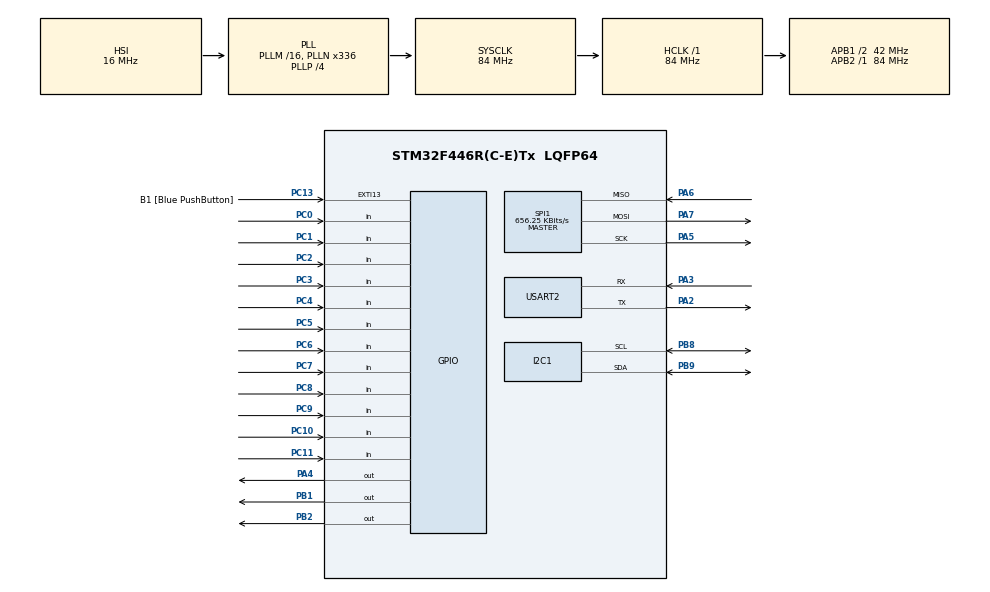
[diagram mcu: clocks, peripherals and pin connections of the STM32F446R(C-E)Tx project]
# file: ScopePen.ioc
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Dma.MEMTOMEM.0.Direction=DMA_MEMORY_TO_MEMORY
Dma.MEMTOMEM.0.FIFOMode=DMA_FIFOMODE_ENABLE
Dma.MEMTOMEM.0.FIFOThreshold=DMA_FIFO_THRESHOLD_FULL
Dma.MEMTOMEM.0.Instance=DMA2_Stream0
Dma.MEMTOMEM.0.MemBurst=DMA_MBURST_SINGLE
Dma.MEMTOMEM.0.MemDataAlignment=DMA_MDATAALIGN_HALFWORD
Dma.MEMTOMEM.0.MemInc=DMA_MINC_ENABLE
Dma.MEMTOMEM.0.Mode=DMA_NORMAL
Dma.MEMTOMEM.0.PeriphBurst=DMA_PBURST_SINGLE
Dma.MEMTOMEM.0.PeriphDataAlignment=DMA_PDATAALIGN_HALFWORD
Dma.MEMTOMEM.0.PeriphInc=DMA_PINC_DISABLE
Dma.MEMTOMEM.0.Priority=DMA_PRIORITY_VERY_HIGH
Dma.Request0=MEMTOMEM
Dma.Request1=SPI1_TX
Dma.Request2=SPI1_RX
Dma.SPI1_RX.2.Direction=DMA_PERIPH_TO_MEMORY
Dma.SPI1_RX.2.FIFOMode=DMA_FIFOMODE_DISABLE
Dma.SPI1_RX.2.Instance=DMA2_Stream2
Dma.SPI1_RX.2.MemDataAlignment=DMA_MDATAALIGN_HALFWORD
Dma.SPI1_RX.2.MemInc=DMA_MINC_ENABLE
Dma.SPI1_RX.2.Mode=DMA_NORMAL
Dma.SPI1_RX.2.PeriphDataAlignment=DMA_PDATAALIGN_HALFWORD
Dma.SPI1_RX.2.PeriphInc=DMA_PINC_DISABLE
Dma.SPI1_RX.2.Priority=DMA_PRIORITY_HIGH
Dma.SPI1_TX.1.Direction=DMA_MEMORY_TO_PERIPH
Dma.SPI1_TX.1.FIFOMode=DMA_FIFOMODE_DISABLE
Dma.SPI1_TX.1.Instance=DMA2_Stream3
Dma.SPI1_TX.1.MemDataAlignment=DMA_MDATAALIGN_HALFWORD
Dma.SPI1_TX.1.MemInc=DMA_MINC_ENABLE
Dma.SPI1_TX.1.Mode=DMA_NORMAL
Dma.SPI1_TX.1.PeriphDataAlignment=DMA_PDATAALIGN_HALFWORD
Dma.SPI1_TX.1.PeriphInc=DMA_PINC_DISABLE
Dma.SPI1_TX.1.Priority=DMA_PRIORITY_HIGH
Mcu.Family=STM32F4
Mcu.Name=STM32F446R(C-E)Tx
Mcu.Package=LQFP64
NVIC.DMA2_Stream0_IRQn=true\:0\:0\:false\:false\:true\:true\:true\:true
NVIC.DMA2_Stream2_IRQn=true\:0\:0\:false\:false\:true\:false\:true\:true
NVIC.DMA2_Stream3_IRQn=true\:0\:0\:false\:false\:true\:false\:true\:true
NVIC.PriorityGroup=NVIC_PRIORITYGROUP_0
NVIC.SPI1_IRQn=true\:0\:0\:false\:false\:true\:true\:true\:true
PA13.GPIO_Label=TMS
PA13.Mode=Serial_Wire
PA13.Signal=SYS_JTMS-SWDIO
PA14.GPIO_Label=TCK
PA14.Mode=Serial_Wire
PA14.Signal=SYS_JTCK-SWCLK
PA2.Mode=Asynchronous
PA2.Signal=USART2_TX
PA3.Mode=Asynchronous
PA3.Signal=USART2_RX
PA4.GPIO_PuPd=GPIO_NOPULL
PA4.PinState=GPIO_PIN_SET
PA4.Signal=GPIO_Output
PA5.Mode=Full_Duplex_Master
PA5.Signal=SPI1_SCK
PA6.Mode=Full_Duplex_Master
PA6.Signal=SPI1_MISO
PA7.Mode=Full_Duplex_Master
PA7.Signal=SPI1_MOSI
PB1.GPIO_PuPd=GPIO_PULLDOWN
PB1.Signal=GPIO_Output
PB2.GPIO_PuPd=GPIO_PULLDOWN
PB2.Signal=GPIO_Output
PB3.GPIO_Label=SWO
PB3.Signal=SYS_JTDO-SWO
PB8.Mode=I2C
PB8.Signal=I2C1_SCL
PB9.Mode=I2C
PB9.Signal=I2C1_SDA
PC0.Signal=GPIO_Input
PC1.Signal=GPIO_Input
PC10.Signal=GPIO_Input
PC11.Signal=GPIO_Input
PC13.GPIO_Label=B1 [Blue PushButton]
PC13.GPIO_ModeDefaultEXTI=GPIO_MODE_IT_FALLING
PC13.Signal=GPXTI13
PC14-OSC32_IN.Mode=LSE-External-Oscillator
PC14-OSC32_IN.Signal=RCC_OSC32_IN
PC15-OSC32_OUT.Mode=LSE-External-Oscillator
PC15-OSC32_OUT.Signal=RCC_OSC32_OUT
PC2.Signal=GPIO_Input
PC3.Signal=GPIO_Input
PC4.Signal=GPIO_Input
PC5.Signal=GPIO_Input
PC6.Signal=GPIO_Input
PC7.Signal=GPIO_Input
PC8.Signal=GPIO_Input
PC9.Signal=GPIO_Input
PH0-OSC_IN.Mode=HSE-External-Oscillator
PH0-OSC_IN.Signal=RCC_OSC_IN
PH1-OSC_OUT.Mode=HSE-External-Oscillator
PH1-OSC_OUT.Signal=RCC_OSC_OUT
ProjectManager.HeapSize=0x200
ProjectManager.StackSize=0x400
ProjectManager.TargetToolchain=STM32CubeIDE
RCC.48MHZClocksFreq_Value=84000000
RCC.AHBFreq_Value=84000000
RCC.APB1CLKDivider=RCC_HCLK_DIV2
RCC.APB1Freq_Value=42000000
RCC.APB1TimFreq_Value=84000000
RCC.APB2Freq_Value=84000000
RCC.APB2TimFreq_Value=84000000
RCC.CortexFreq_Value=84000000
RCC.FLatency-AdvancedSettings=FLASH_LATENCY_2
RCC.HCLKFreq_Value=84000000
RCC.HSE_VALUE=8000000
RCC.HSI_VALUE=16000000
RCC.PLLN=336
RCC.PLLP=RCC_PLLP_DIV4
RCC.SYSCLKFreq_VALUE=84000000
RCC.SYSCLKSource=RCC_SYSCLKSOURCE_PLLCLK
RCC.USBFreq_Value=168000000
RCC.VCOOutputFreq_Value=336000000
SPI1.BaudRatePrescaler=SPI_BAUDRATEPRESCALER_128
SPI1.CLKPolarity=SPI_POLARITY_LOW
SPI1.CalculateBaudRate=656.25 KBits/s
SPI1.DataSize=SPI_DATASIZE_16BIT
SPI1.Direction=SPI_DIRECTION_2LINES
SPI1.Mode=SPI_MODE_MASTER
SPI1.VirtualType=VM_MASTER
USART2.VirtualMode=VM_ASYNC
board=NUCLEO-F446RE

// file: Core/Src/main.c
/* USER CODE BEGIN Header */
/**
 ******************************************************************************
 * @file           : main.c
 * @brief          : Main program body
 ******************************************************************************
 * @attention
 *
 * Copyright (c) 2025 STMicroelectronics.
 * All rights reserved.
 *
 * This software is licensed under terms that can be found in the LICENSE file
 * in the root directory of this software component.
 * If no LICENSE file comes with this software, it is provided AS-IS.
 *
 ******************************************************************************
 */
/* USER CODE END Header */
#include "main.h"

/* USER CODE BEGIN Includes */
#include <stdio.h>
#include <string.h>
#include <stdlib.h>
/* USER CODE END Includes */

/* USER CODE BEGIN PD */
#define NUM_SAMPLES 1000
#define GPIO_MASK 0x0FFF //12 bits

#define CS_GPIO_Port GPIOA
#define CS_Pin GPIO_PIN_4

#define VREF 5.3
/* USER CODE END PD */

I2C_HandleTypeDef hi2c1;

SPI_HandleTypeDef hspi1;
DMA_HandleTypeDef hdma_spi1_tx;
DMA_HandleTypeDef hdma_spi1_rx;

UART_HandleTypeDef huart2;

DMA_HandleTypeDef hdma_memtomem_dma2_stream0;
/* USER CODE BEGIN PV */
uint16_t * gpio_buffer;
uint16_t spi_tx_buffer[NUM_SAMPLES];
uint16_t spi_rx_buffer[NUM_SAMPLES];

volatile uint8_t dma_done = 0;
volatile uint8_t tx_done = 0;
volatile uint8_t num_frames = 1;

char start_frame = 'S';

/* USER CODE END PV */

void SystemClock_Config(void);
static void MX_GPIO_Init(void);
static void MX_DMA_Init(void);
static void MX_I2C1_Init(void);
static void MX_USART2_UART_Init(void);
static void MX_SPI1_Init(void);

/* USER CODE BEGIN 0 */
int __io_putchar(int ch)
{
	HAL_UART_Transmit(&huart2, (uint8_t *)&ch, 1, HAL_MAX_DELAY);
	return ch;
}

static inline uint16_t ADC_ReadWord(void)
{
	// GPIOC->IDR bit0→PC0, bit1→PC1, …, bit11→PC11
	// Mask 0x0FFF keeps bits 0–11
	return (uint16_t)(GPIOC->IDR & GPIO_MASK);
}

float convert(uint16_t data){
	return ((float) ((data & GPIO_MASK) - 2048) / 4096) * (2 * VREF);
}

void sample_gpio_dma()
{
	dma_done = 0;

	__HAL_DMA_ENABLE_IT(&hdma_memtomem_dma2_stream0, DMA_IT_TC);

	// Start DMA manually — source = GPIOC->IDR, destination = buffer
	HAL_DMA_Start_IT(
			&hdma_memtomem_dma2_stream0,
			(uint32_t)&GPIOC->IDR,           // Fake peripheral
			(uint32_t)gpio_buffer,
			NUM_SAMPLES * num_frames
	);

}

void voltage_gain(uint32_t voltage){

    // GPIOB1 = PB1, GPIOB2 = PB2
    // Set combinations for 4 voltage ranges
    if (voltage <= 100) {
        // VOLTAGE MULTIPLIER = 10; GPIOB1 HIGH, GPIOB2 HIGH
        HAL_GPIO_WritePin(GPIOB, GPIO_PIN_1, GPIO_PIN_SET);
        HAL_GPIO_WritePin(GPIOB, GPIO_PIN_2, GPIO_PIN_SET);
        printf("MULTIPLIER = 10\r\n");
    } else if (voltage <= 500) {
        // VOLTAGE MULTIPLIER = 5; GPIOB1 HIGH, GPIOB2 LOW
        HAL_GPIO_WritePin(GPIOB, GPIO_PIN_1, GPIO_PIN_SET);
        HAL_GPIO_WritePin(GPIOB, GPIO_PIN_2, GPIO_PIN_RESET);
        printf("MULTIPLIER = 5\r\n");
    } else if (voltage <= 2000) {
        // VOLTAGE MULTIPLIER = 2; GPIOB1 LOW, GPIOB2 HIGH
        HAL_GPIO_WritePin(GPIOB, GPIO_PIN_1, GPIO_PIN_RESET);
        HAL_GPIO_WritePin(GPIOB, GPIO_PIN_2, GPIO_PIN_SET);
        printf("MULTIPLIER = 2\r\n");
    } else {
        // VOLTAGE_MULTIPLIER = 1; GPIOB1 LOW, GPIOB2 LOW
        HAL_GPIO_WritePin(GPIOB, GPIO_PIN_1, GPIO_PIN_RESET);
        HAL_GPIO_WritePin(GPIOB, GPIO_PIN_2, GPIO_PIN_RESET);
        printf("MULTIPLIER = 1\r\n");
    }

    return;
}

void window_scale(uint32_t frames){
	num_frames = frames;
}

void voltage_offset(uint32_t offset){

}

void handle_spi_received_data(uint16_t *rx_buf, size_t len)
{
	if (len >= 3) {
		uint16_t identifier = (rx_buf[0] >> 8) | (rx_buf[0] << 8);
		uint16_t rx1 = (rx_buf[1] >> 8) | (rx_buf[1] << 8);
		uint16_t rx2 = (rx_buf[2] >> 8) | (rx_buf[2] << 8);
		uint32_t value = ((uint32_t)rx2 << 16 | ((uint32_t) rx1));
		printf("Identifier: %u, Value: %lu\r\n", (uint8_t)identifier, (uint32_t)value);

		switch(identifier){
			case 1:
				voltage_gain(value);
				return;
			case 2:
				window_scale(value);
				return;
			case 3:
				//voltage_offset(value);
				return;

			default:
				return;
		}

	}
}

void setup_tx_buffer() {
	for (int i = 0; i < NUM_SAMPLES; i++){
		spi_tx_buffer[i] = gpio_buffer[i*num_frames];
	}
}

void spi_gpio_transfer()
{

	printf("Starting SPI Transfer\r\n");

	setup_tx_buffer();

	tx_done = 0;

	// Start DMA transmit
	HAL_StatusTypeDef status = HAL_SPI_TransmitReceive_DMA(
        &hspi1,
        (uint8_t *)spi_tx_buffer,
        (uint8_t *)spi_rx_buffer,
        NUM_SAMPLES
    );

	HAL_GPIO_WritePin(GPIOA, GPIO_PIN_4, GPIO_PIN_RESET);  // assert CS

	if (status != HAL_OK) {
		printf("DMA TX FAILED\r\n");
	}

	while (!tx_done);  // Wait for TX complete

	printf("Done SPI DMA\r\n");

	handle_spi_received_data(spi_rx_buffer, NUM_SAMPLES);
}

void uart_transmit_buffer(uint16_t *buffer, size_t length)
{
	HAL_UART_Transmit(&huart2, (uint8_t *) &start_frame, 1, HAL_MAX_DELAY);
	HAL_UART_Transmit(&huart2, (uint8_t *) buffer, 2 * length, HAL_MAX_DELAY);
}

void HAL_SPI_TxRxCpltCallback(SPI_HandleTypeDef *hspi)
{
	if (hspi->Instance == SPI1)
	{
		printf("SPI Transfer Complete\r\n");
		HAL_GPIO_WritePin(GPIOA, GPIO_PIN_4, GPIO_PIN_SET);
		tx_done = 1;
	}
}

void dma_transfer_complete_callback(DMA_HandleTypeDef *hdma)
{
	dma_done = 1;
	printf("DMA Complete\r\n");
}

void register_dma_callbacks()
{
	HAL_DMA_RegisterCallback(&hdma_memtomem_dma2_stream0, HAL_DMA_XFER_CPLT_CB_ID, dma_transfer_complete_callback);
}

/* USER CODE END 0 */

int main(void)
{

  /* MCU Configuration--------------------------------------------------------*/

  /* Reset of all peripherals, Initializes the Flash interface and the Systick. */
  HAL_Init();

  /* Configure the system clock */
  SystemClock_Config();

  /* Initialize all configured peripherals */
  MX_GPIO_Init();
  MX_DMA_Init();
  MX_I2C1_Init();
  MX_USART2_UART_Init();
  MX_SPI1_Init();
  /* USER CODE BEGIN 2 */
	si5351_Init();

	// Set clock 0 to 16MHz
	// 25mhz crystal osc * 32 == 800MHz
	// 800MHz / 50 = 16Mhz
	//
	si5351_setupPLLInt(SI5351_PLL_A, 32);
	si5351_setupMultisynthInt(0, SI5351_PLL_A, 20);
	si5351_setupRdiv(0, SI5351_R_DIV_1);

	si5351_enableOutputs(0xFF);

	printf("Clock IC Programmed\r\n");

	gpio_buffer = (uint16_t *)malloc(50000 * sizeof(uint16_t));

	register_dma_callbacks();

	HAL_GPIO_WritePin(GPIOB, GPIO_PIN_2, GPIO_PIN_SET);

	//uart_transmit_buffer(gpio_buffer, NUM_SAMPLES);

  /* USER CODE END 2 */

  /* Infinite loop */
  /* USER CODE BEGIN WHILE */
	while (1)
	{
		sample_gpio_dma();

		while(!dma_done);

		for (int i = 0; i < 10; ++i){
			printf("%X %X\r\n", gpio_buffer[i], gpio_buffer[i] & GPIO_MASK);
		}
		spi_gpio_transfer();
		HAL_Delay(250);
    /* USER CODE END WHILE */

	}
}

void SystemClock_Config(void)
{
  RCC_OscInitTypeDef RCC_OscInitStruct = {0};
  RCC_ClkInitTypeDef RCC_ClkInitStruct = {0};

  /** Configure the main internal regulator output voltage
  */
  __HAL_RCC_PWR_CLK_ENABLE();
  __HAL_PWR_VOLTAGESCALING_CONFIG(PWR_REGULATOR_VOLTAGE_SCALE3);

  /** Initializes the RCC Oscillators according to the specified parameters
  * in the RCC_OscInitTypeDef structure.
  */
  RCC_OscInitStruct.OscillatorType = RCC_OSCILLATORTYPE_HSI;
  RCC_OscInitStruct.HSIState = RCC_HSI_ON;
  RCC_OscInitStruct.HSICalibrationValue = RCC_HSICALIBRATION_DEFAULT;
  RCC_OscInitStruct.PLL.PLLState = RCC_PLL_ON;
  RCC_OscInitStruct.PLL.PLLSource = RCC_PLLSOURCE_HSI;
  RCC_OscInitStruct.PLL.PLLM = 16;
  RCC_OscInitStruct.PLL.PLLN = 336;
  RCC_OscInitStruct.PLL.PLLP = RCC_PLLP_DIV4;
  RCC_OscInitStruct.PLL.PLLQ = 2;
  RCC_OscInitStruct.PLL.PLLR = 2;
  if (HAL_RCC_OscConfig(&RCC_OscInitStruct) != HAL_OK)
  {
    Error_Handler();
  }

  /** Initializes the CPU, AHB and APB buses clocks
  */
  RCC_ClkInitStruct.ClockType = RCC_CLOCKTYPE_HCLK|RCC_CLOCKTYPE_SYSCLK
                              |RCC_CLOCKTYPE_PCLK1|RCC_CLOCKTYPE_PCLK2;
  RCC_ClkInitStruct.SYSCLKSource = RCC_SYSCLKSOURCE_PLLCLK;
  RCC_ClkInitStruct.AHBCLKDivider = RCC_SYSCLK_DIV1;
  RCC_ClkInitStruct.APB1CLKDivider = RCC_HCLK_DIV2;
  RCC_ClkInitStruct.APB2CLKDivider = RCC_HCLK_DIV1;

  if (HAL_RCC_ClockConfig(&RCC_ClkInitStruct, FLASH_LATENCY_2) != HAL_OK)
  {
    Error_Handler();
  }
}

static void MX_I2C1_Init(void)
{

  hi2c1.Instance = I2C1;
  hi2c1.Init.ClockSpeed = 100000;
  hi2c1.Init.DutyCycle = I2C_DUTYCYCLE_2;
  hi2c1.Init.OwnAddress1 = 0;
  hi2c1.Init.AddressingMode = I2C_ADDRESSINGMODE_7BIT;
  hi2c1.Init.DualAddressMode = I2C_DUALADDRESS_DISABLE;
  hi2c1.Init.OwnAddress2 = 0;
  hi2c1.Init.GeneralCallMode = I2C_GENERALCALL_DISABLE;
  hi2c1.Init.NoStretchMode = I2C_NOSTRETCH_DISABLE;
  if (HAL_I2C_Init(&hi2c1) != HAL_OK)
  {
    Error_Handler();
  }

}

static void MX_SPI1_Init(void)
{

  /* SPI1 parameter configuration*/
  hspi1.Instance = SPI1;
  hspi1.Init.Mode = SPI_MODE_MASTER;
  hspi1.Init.Direction = SPI_DIRECTION_2LINES;
  hspi1.Init.DataSize = SPI_DATASIZE_16BIT;
  hspi1.Init.CLKPolarity = SPI_POLARITY_LOW;
  hspi1.Init.CLKPhase = SPI_PHASE_1EDGE;
  hspi1.Init.NSS = SPI_NSS_SOFT;
  hspi1.Init.BaudRatePrescaler = SPI_BAUDRATEPRESCALER_128;
  hspi1.Init.FirstBit = SPI_FIRSTBIT_MSB;
  hspi1.Init.TIMode = SPI_TIMODE_DISABLE;
  hspi1.Init.CRCCalculation = SPI_CRCCALCULATION_DISABLE;
  hspi1.Init.CRCPolynomial = 10;
  if (HAL_SPI_Init(&hspi1) != HAL_OK)
  {
    Error_Handler();
  }

}

static void MX_USART2_UART_Init(void)
{

  huart2.Instance = USART2;
  huart2.Init.BaudRate = 115200;
  huart2.Init.WordLength = UART_WORDLENGTH_8B;
  huart2.Init.StopBits = UART_STOPBITS_1;
  huart2.Init.Parity = UART_PARITY_NONE;
  huart2.Init.Mode = UART_MODE_TX_RX;
  huart2.Init.HwFlowCtl = UART_HWCONTROL_NONE;
  huart2.Init.OverSampling = UART_OVERSAMPLING_16;
  if (HAL_UART_Init(&huart2) != HAL_OK)
  {
    Error_Handler();
  }

}

static void MX_DMA_Init(void)
{

  /* DMA controller clock enable */
  __HAL_RCC_DMA2_CLK_ENABLE();

  /* Configure DMA request hdma_memtomem_dma2_stream0 on DMA2_Stream0 */
  hdma_memtomem_dma2_stream0.Instance = DMA2_Stream0;
  hdma_memtomem_dma2_stream0.Init.Channel = DMA_CHANNEL_0;
  hdma_memtomem_dma2_stream0.Init.Direction = DMA_MEMORY_TO_MEMORY;
  hdma_memtomem_dma2_stream0.Init.PeriphInc = DMA_PINC_DISABLE;
  hdma_memtomem_dma2_stream0.Init.MemInc = DMA_MINC_ENABLE;
  hdma_memtomem_dma2_stream0.Init.PeriphDataAlignment = DMA_PDATAALIGN_HALFWORD;
  hdma_memtomem_dma2_stream0.Init.MemDataAlignment = DMA_MDATAALIGN_HALFWORD;
  hdma_memtomem_dma2_stream0.Init.Mode = DMA_NORMAL;
  hdma_memtomem_dma2_stream0.Init.Priority = DMA_PRIORITY_VERY_HIGH;
  hdma_memtomem_dma2_stream0.Init.FIFOMode = DMA_FIFOMODE_ENABLE;
  hdma_memtomem_dma2_stream0.Init.FIFOThreshold = DMA_FIFO_THRESHOLD_FULL;
  hdma_memtomem_dma2_stream0.Init.MemBurst = DMA_MBURST_SINGLE;
  hdma_memtomem_dma2_stream0.Init.PeriphBurst = DMA_PBURST_SINGLE;
  if (HAL_DMA_Init(&hdma_memtomem_dma2_stream0) != HAL_OK)
  {
    Error_Handler( );
  }

  /* DMA interrupt init */
  /* DMA2_Stream0_IRQn interrupt configuration */
  HAL_NVIC_SetPriority(DMA2_Stream0_IRQn, 0, 0);
  HAL_NVIC_EnableIRQ(DMA2_Stream0_IRQn);
  /* DMA2_Stream2_IRQn interrupt configuration */
  HAL_NVIC_SetPriority(DMA2_Stream2_IRQn, 0, 0);
  HAL_NVIC_EnableIRQ(DMA2_Stream2_IRQn);
  /* DMA2_Stream3_IRQn interrupt configuration */
  HAL_NVIC_SetPriority(DMA2_Stream3_IRQn, 0, 0);
  HAL_NVIC_EnableIRQ(DMA2_Stream3_IRQn);

}

static void MX_GPIO_Init(void)
{
  GPIO_InitTypeDef GPIO_InitStruct = {0};

  /* GPIO Ports Clock Enable */
  __HAL_RCC_GPIOC_CLK_ENABLE();
  __HAL_RCC_GPIOH_CLK_ENABLE();
  __HAL_RCC_GPIOA_CLK_ENABLE();
  __HAL_RCC_GPIOB_CLK_ENABLE();

  /*Configure GPIO pin Output Level */
  HAL_GPIO_WritePin(GPIOA, GPIO_PIN_4, GPIO_PIN_SET);

  /*Configure GPIO pin Output Level */
  HAL_GPIO_WritePin(GPIOB, GPIO_PIN_1|GPIO_PIN_2, GPIO_PIN_RESET);

  /*Configure GPIO pin : B1_Pin */
  GPIO_InitStruct.Pin = B1_Pin;
  GPIO_InitStruct.Mode = GPIO_MODE_IT_FALLING;
  GPIO_InitStruct.Pull = GPIO_NOPULL;
  HAL_GPIO_Init(B1_GPIO_Port, &GPIO_InitStruct);

  /*Configure GPIO pins : PC0 PC1 PC2 PC3
                           PC4 PC5 PC6 PC7
                           PC8 PC9 PC10 PC11 */
  GPIO_InitStruct.Pin = GPIO_PIN_0|GPIO_PIN_1|GPIO_PIN_2|GPIO_PIN_3
                          |GPIO_PIN_4|GPIO_PIN_5|GPIO_PIN_6|GPIO_PIN_7
                          |GPIO_PIN_8|GPIO_PIN_9|GPIO_PIN_10|GPIO_PIN_11;
  GPIO_InitStruct.Mode = GPIO_MODE_INPUT;
  GPIO_InitStruct.Pull = GPIO_NOPULL;
  HAL_GPIO_Init(GPIOC, &GPIO_InitStruct);

  /*Configure GPIO pin : PA4 */
  GPIO_InitStruct.Pin = GPIO_PIN_4;
  GPIO_InitStruct.Mode = GPIO_MODE_OUTPUT_PP;
  GPIO_InitStruct.Pull = GPIO_NOPULL;
  GPIO_InitStruct.Speed = GPIO_SPEED_FREQ_LOW;
  HAL_GPIO_Init(GPIOA, &GPIO_InitStruct);

  /*Configure GPIO pins : PB1 PB2 */
  GPIO_InitStruct.Pin = GPIO_PIN_1|GPIO_PIN_2;
  GPIO_InitStruct.Mode = GPIO_MODE_OUTPUT_PP;
  GPIO_InitStruct.Pull = GPIO_PULLDOWN;
  GPIO_InitStruct.Speed = GPIO_SPEED_FREQ_LOW;
  HAL_GPIO_Init(GPIOB, &GPIO_InitStruct);

}

void Error_Handler(void)
{
	__disable_irq();
	while (1)
	{
	}
}
